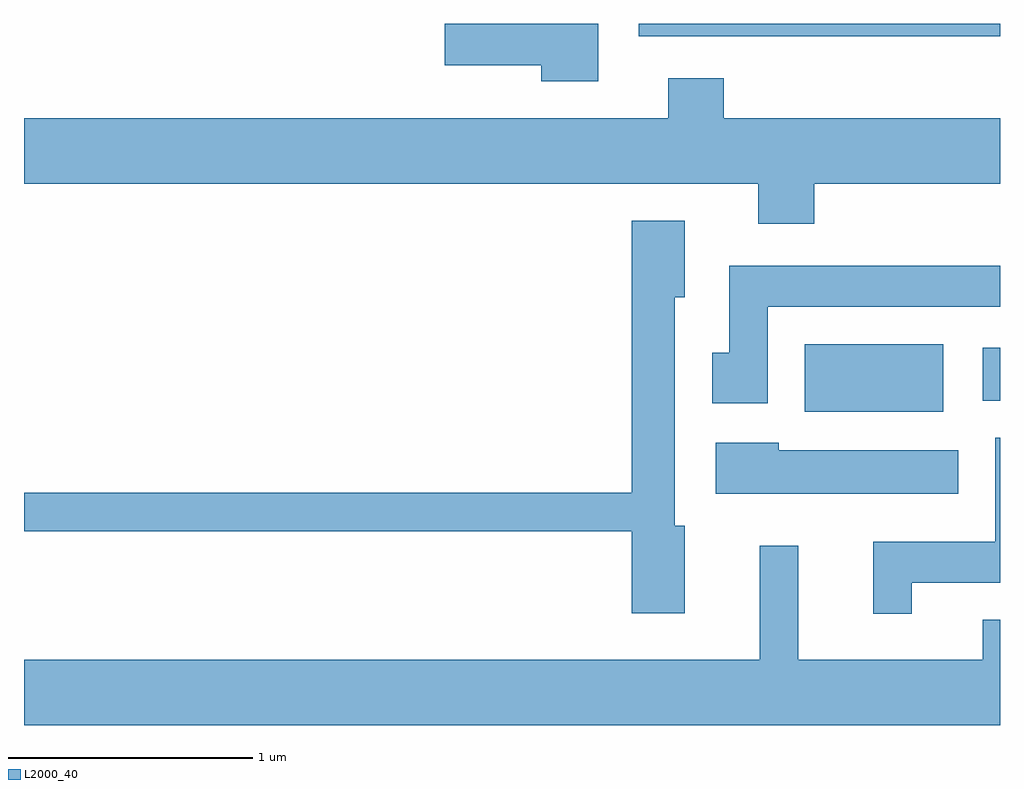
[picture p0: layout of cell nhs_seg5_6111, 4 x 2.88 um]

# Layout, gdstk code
import gdstk
lib = gdstk.Library(unit=1e-6, precision=1e-09)
def R(c, l, rs):  # rectangles x0, y0, x1, y1
    for r in rs: c.add(gdstk.rectangle(r[:2], r[2:], *l))
def P(c, l, *ps):  # polygons
    for p in ps: c.add(gdstk.Polygon(p, *l))
L2000_40 = (2000, 40)

nhs_seg5_6111 = lib.new_cell('nhs_seg5_6111')
R(nhs_seg5_6111, L2000_40, [(368.811,1502.481,369.379,1502.759), (369.541,1502.526,369.611,1502.744), (368.131,1504.021,369.611,1504.072)])
P(nhs_seg5_6111, L2000_40, [(367.964,1504.072),(367.336,1504.072),(367.336,1503.901),(367.731,1503.901),(367.731,1503.836),(367.964,1503.836)],
  [(368.849,1503.416),(369.611,1503.416),(369.611,1503.684),(368.479,1503.684),(368.479,1503.849),(368.251,1503.849),(368.251,1503.684),(365.611,1503.684),(365.611,1503.416),(368.621,1503.416),(368.621,1503.251),(368.849,1503.251)],
  [(368.319,1502.014),(368.279,1502.014),(368.279,1502.951),(368.319,1502.951),(368.319,1503.264),(368.101,1503.264),(368.101,1502.149),(365.611,1502.149),(365.611,1501.991),(368.101,1501.991),(368.101,1501.656),(368.319,1501.656)],
  [(368.659,1502.911),(369.611,1502.911),(369.611,1503.079),(368.501,1503.079),(368.501,1502.724),(368.431,1502.724),(368.431,1502.516),(368.659,1502.516)],
  [(369.249,1501.781),(369.611,1501.781),(369.611,1502.374),(369.591,1502.374),(369.591,1501.949),(369.091,1501.949),(369.091,1501.653),(369.249,1501.653)],
  [(369.439,1502.324),(368.704,1502.324),(368.704,1502.354),(368.446,1502.354),(368.446,1502.146),(369.439,1502.146)],
  [(369.611,1501.629),(369.541,1501.629),(369.541,1501.464),(368.784,1501.464),(368.784,1501.933),(368.626,1501.933),(368.626,1501.464),(365.611,1501.464),(365.611,1501.196),(369.611,1501.196)])

lib.write_gds('nhs_seg5_6111.gds')
